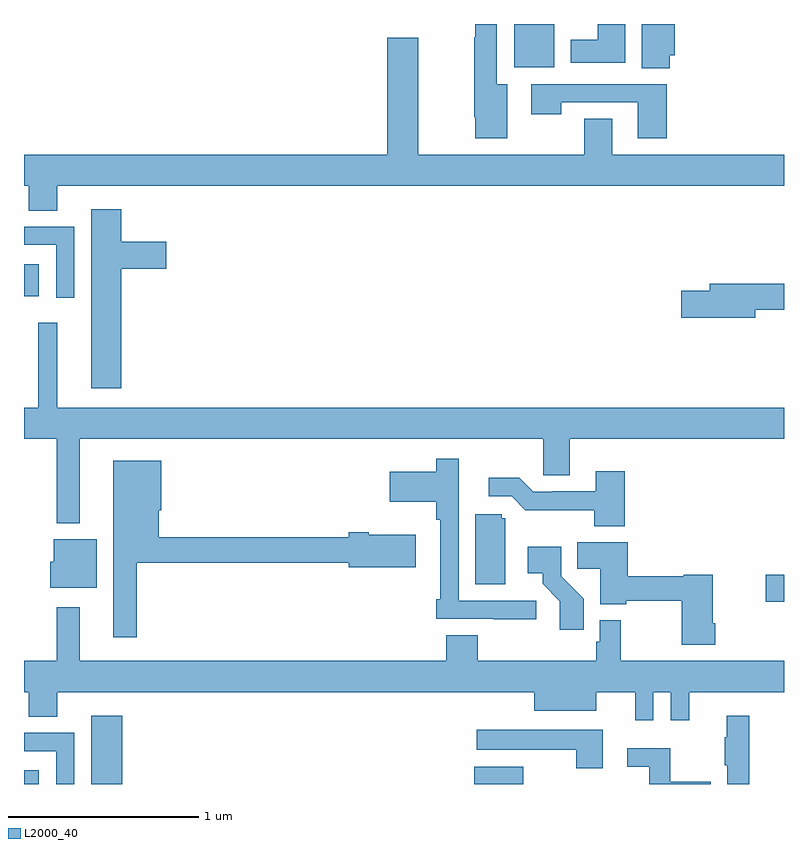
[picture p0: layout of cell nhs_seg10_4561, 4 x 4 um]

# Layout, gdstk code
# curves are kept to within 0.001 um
import gdstk
lib = gdstk.Library(unit=1e-6, precision=1e-09)
def R(c, l, rs):  # rectangles x0, y0, x1, y1
    for r in rs: c.add(gdstk.rectangle(r[:2], r[2:], *l))
def P(c, l, *ps):  # polygons
    for p in ps: c.add(gdstk.Polygon(p, *l))
L2000_40 = (2000, 40)

nhs_seg10_4561 = lib.new_cell('nhs_seg10_4561')
R(nhs_seg10_4561, L2000_40, [(371,1298.5,371.077,1298.572), (371.354,1298.5,371.518,1298.86), (373.37,1298.5,373.627,1298.59), (374.904,1299.46,375,1299.602), (371,1301.066,371.077,1301.236), (373.58,1302.272,373.792,1302.5)])
P(nhs_seg10_4561, L2000_40, [(373.543,1302.184),(373.489,1302.184),(373.489,1302.5),(373.376,1302.5),(373.376,1302.431),(373.369,1302.431),(373.369,1302.01),(373.376,1302.01),(373.376,1301.898),(373.543,1301.898)],
  [(374.164,1302.5),(374.021,1302.5),(374.021,1302.418),(373.877,1302.418),(373.877,1302.296),(374.164,1302.296)],
  [(374.399,1302.335),(374.425,1302.335),(374.425,1302.5),(374.252,1302.5),(374.252,1302.268),(374.399,1302.268)],
  [(371.176,1301.648),(375,1301.648),(375,1301.812),(374.095,1301.812),(374.095,1302.002),(373.948,1302.002),(373.948,1301.812),(373.075,1301.812),(373.075,1302.427),(372.911,1302.427),(372.911,1301.812),(371,1301.812),(371,1301.648),(371.024,1301.648),(371.024,1301.518),(371.176,1301.518)],
  [(374.384,1302.183),(373.671,1302.183),(373.671,1302.024),(373.827,1302.024),(373.827,1302.087),(374.231,1302.087),(374.231,1301.898),(374.384,1301.898)],
  [(371.513,1301.213),(371.749,1301.213),(371.749,1301.355),(371.513,1301.355),(371.513,1301.524),(371.354,1301.524),(371.354,1300.584),(371.513,1300.584)],
  [(371.265,1301.433),(371,1301.433),(371,1301.337),(371.169,1301.337),(371.169,1301.058),(371.265,1301.058)],
  [(374.848,1300.996),(375,1300.996),(375,1301.132),(374.609,1301.132),(374.609,1301.096),(374.46,1301.096),(374.46,1300.954),(374.848,1300.954)],
  [(371.293,1300.316),(373.734,1300.316),(373.734,1300.126),(373.873,1300.126),(373.873,1300.316),(375,1300.316),(375,1300.48),(371.174,1300.48),(371.174,1300.927),(371.075,1300.927),(371.075,1300.48),(371,1300.48),(371,1300.316),(371.172,1300.316),(371.172,1299.872),(371.293,1299.872)],
  [(373.696,1299.465),(373.287,1299.465),(373.287,1299.99),(373.288,1299.99),(373.288,1300.213),(373.171,1300.213),(373.171,1300.144),(372.924,1300.144),(372.924,1299.986),(373.171,1299.986),(373.171,1299.89),(373.191,1299.89),(373.191,1299.472),(373.171,1299.472),(373.171,1299.369),(373.471,1299.369),(373.471,1299.367),(373.696,1299.367)],
  [(371.593,1299.664),(372.71,1299.664),(372.71,1299.641),(373.063,1299.641),(373.063,1299.811),(372.814,1299.811),(372.814,1299.824),(372.71,1299.824),(372.71,1299.8),(371.71,1299.8),(371.71,1299.942),(371.722,1299.942),(371.722,1300.201),(371.471,1300.201),(371.471,1299.273),(371.593,1299.273)],
  [(374.162,1300.147),(374.009,1300.147),(374.009,1300.041),(373.78,1300.041),(373.78,1300.038),(373.68,1300.038),(373.607,1300.111),(373.446,1300.111),(373.446,1300.014),(373.566,1300.014),(373.639,1299.941),(374.002,1299.942),(374.002,1299.857),(374.162,1299.857)],
  [(373.534,1299.9),(373.515,1299.9),(373.515,1299.921),(373.376,1299.921),(373.376,1299.552),(373.534,1299.552)],
  [(371.383,1299.787),(371.156,1299.787),(371.156,1299.669),(371.138,1299.669),(371.138,1299.533),(371.383,1299.533)],
  [(374.639,1299.346),(374.626,1299.346),(374.626,1299.601),(374.472,1299.601),(374.472,1299.593),(374.178,1299.593),(374.178,1299.772),(373.912,1299.772),(373.912,1299.634),(374.033,1299.634),(374.033,1299.446),(374.17,1299.446),(374.17,1299.465),(374.461,1299.465),(374.461,1299.234),(374.639,1299.234)],
  [(373.946,1299.474),(373.827,1299.593),(373.827,1299.748),(373.65,1299.748),(373.65,1299.608),(373.73,1299.608),(373.73,1299.553),(373.821,1299.463),(373.821,1299.312),(373.946,1299.312)],
  [(374.313,1298.984),(374.403,1298.984),(374.403,1298.835),(374.501,1298.835),(374.501,1298.984),(375,1298.984),(375,1299.148),(374.14,1299.148),(374.14,1299.361),(374.031,1299.361),(374.031,1299.249),(374.011,1299.249),(374.011,1299.148),(373.388,1299.148),(373.388,1299.284),(373.223,1299.284),(373.223,1299.148),(371.293,1299.148),(371.293,1299.43),(371.172,1299.43),(371.172,1299.148),(371,1299.148),(371,1298.984),(371.024,1298.984),(371.024,1298.854),(371.176,1298.854),(371.176,1298.984),(373.685,1298.984),(373.685,1298.885),(374.011,1298.885),(374.011,1298.984),(374.216,1298.984),(374.216,1298.835),(374.313,1298.835)],
  [(374.816,1298.86),(374.699,1298.86),(374.699,1298.747),(374.688,1298.747),(374.688,1298.599),(374.7,1298.599),(374.7,1298.5),(374.816,1298.5)],
  [(374.047,1298.785),(373.383,1298.785),(373.383,1298.681),(373.907,1298.681),(373.907,1298.583),(374.047,1298.583)],
  [(371.265,1298.769),(371,1298.769),(371,1298.673),(371.169,1298.673),(371.169,1298.5),(371.265,1298.5)],
  [(374.615,1298.511),(374.401,1298.511),(374.401,1298.689),(374.175,1298.689),(374.175,1298.592),(374.292,1298.592),(374.292,1298.5),(374.615,1298.5)])

lib.write_gds('nhs_seg10_4561.gds')
